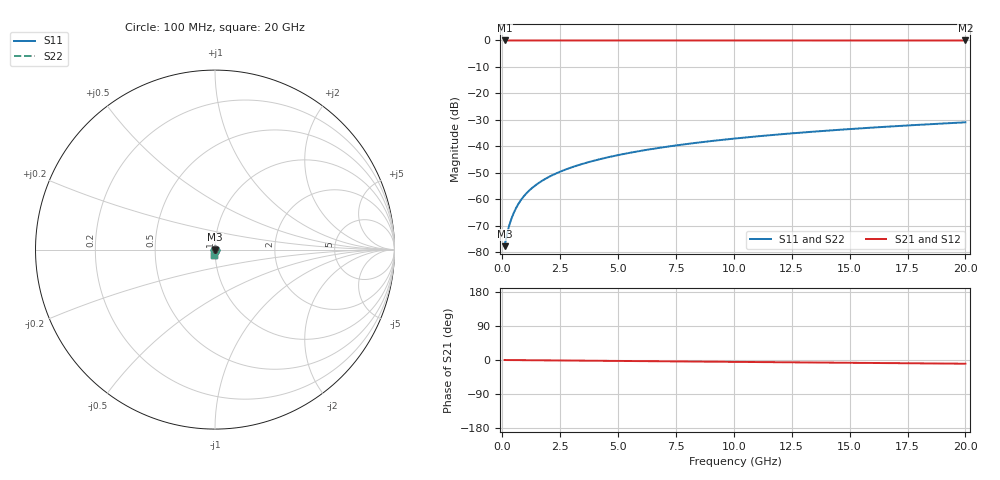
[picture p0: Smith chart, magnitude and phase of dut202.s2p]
! Touchstone file exported from HFSS 2026.1.0
!  File:  C:/ffzhzh/LocalFiles/Ansys_Project_Files/temp_train_TSV_202_1782991771_42984.aedt
!  Generated:  07:31:00 PM Jul  2, 2026
!  Design:  TSV
!  Project:  temp_train_TSV_202_1782991771_42984
! Variables:
!  h_bsmrdl = 2um
!  h_ox = 20um
!  h_rdl = 5um
!  h_sub = 99.91um
!  h_tmrdl = 5um
!  h_tsv = 99.91um
!  h_via = 3um
!  l_bsmrdl = 300um
!  l_sub = 428.4um
!  l_tmrdl = 200um
!  m_sub = 200um
!  pitch = 48.6um
!  r_tsv = 14.2um
!  s_tmrdl = 10um
!  w_bsmrdl = 18um
!  w_sub = 500um
!  w_tmrdl = 12um
!  x_tsv_center1 = 206um
!  x_tsv_center2 = 524um
!  x_tsv_center3 = 736um
!  x_tsv_center4 = 1054um
!  x_tsv_center5 = 1266um
!  x_tsv_center6 = 1584um
# GHz S MA R 50.000000
! Terminal data exported
! Port[1] = TSV1_1_T1
! Port[2] = TSV1_1_T2
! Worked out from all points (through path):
!   200 points, 100 MHz to 20 GHz, reference 50 ohm
!   highest |S21| = 0.00 dB at 100 MHz (marker M1); lowest = 0.0 dB at 20 GHz (marker M2)
!   group delay of S21, straight-line fit = 1.36 ps
!   lowest |S11| = -77.8 dB at 100 MHz (marker M3), VSWR 1.00, Z = 50 - j0.00901 ohm
!   |S11| at or under -10 dB: start of sweep to end of sweep
!   |S22| runs from -77.8 to -31.0 dB; largest |S21 - S12| = 2.3e-15
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0.1  0.0001286 -44.5  0.9999 -0.1  0.9999 -0.1  0.0001286 -44.5
! Gamma 0 0 0 0
! Port Impedance 50 0 50 0
0.2  0.0002149 -59.5  0.9999 -0.1  0.9999 -0.1  0.0002149 -59.5
0.3  0.0003181 -65.1  0.9999 -0.2  0.9999 -0.2  0.0003181 -65.1
0.4  0.0004325 -68.0  0.9998 -0.2  0.9998 -0.2  0.0004325 -68.0
0.5  0.0005553 -69.9  0.9998 -0.3  0.9998 -0.3  0.0005553 -69.9
0.6  0.000684 -71.5  0.9998 -0.3  0.9998 -0.3  0.000684 -71.5
0.8  0.000952 -74.1  0.9997 -0.4  0.9997 -0.4  0.000952 -74.1
1.1  0.001364 -77.0  0.9997 -0.6  0.9997 -0.6  0.001364 -77.0
1.3  0.001641 -78.5  0.9997 -0.7  0.9997 -0.7  0.001641 -78.5
1.5  0.001918 -79.8  0.9996 -0.7  0.9996 -0.7  0.001918 -79.8
1.8  0.002332 -81.2  0.9996 -0.9  0.9996 -0.9  0.002332 -81.2
2.1  0.002746 -82.3  0.9996 -1.0  0.9996 -1.0  0.002746 -82.3
2.7  0.003575 -83.9  0.9995 -1.3  0.9995 -1.3  0.003575 -83.9
3.5  0.004686 -85.4  0.9995 -1.7  0.9995 -1.7  0.004686 -85.4
4.2  0.005664 -86.3  0.9994 -2.1  0.9994 -2.1  0.005664 -86.3
5  0.006788 -87.2  0.9994 -2.5  0.9994 -2.5  0.006788 -87.2
6.8  0.00934 -88.9  0.9992 -3.4  0.9992 -3.4  0.00934 -88.9
8.3  0.01148 -90.1  0.9991 -4.1  0.9991 -4.1  0.01148 -90.1
10.1  0.01405 -91.3  0.999 -5.0  0.999 -5.0  0.01405 -91.3
13.4  0.01879 -93.5  0.9988 -6.6  0.9988 -6.6  0.01879 -93.5
16.7  0.02353 -95.4  0.9986 -8.2  0.9986 -8.2  0.02353 -95.4
20  0.02828 -97.3  0.9983 -9.8  0.9983 -9.8  0.02828 -97.3
